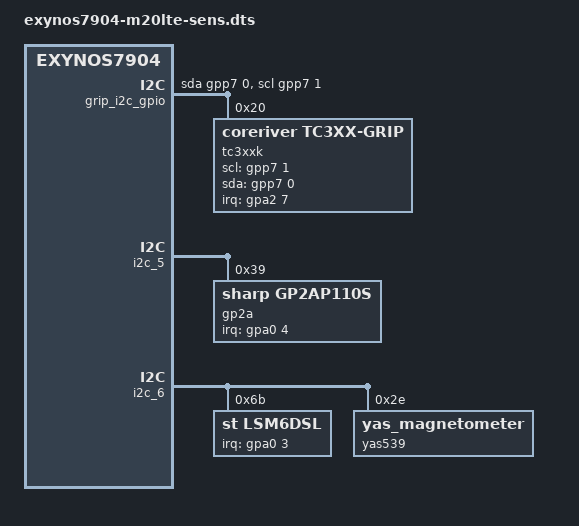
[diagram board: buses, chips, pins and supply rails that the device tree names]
// SPDX-License-Identifier: GPL-2.0
/*
 * M20 sensors (proximity/light, accel/gyro, magnetometer, grip) on top of the
 * DECON variant. Values from 4.4 exynos7904-m20lte-sensor-r03.dtsi. Separate
 * variant so the default images stay unchanged. Never run on hardware.
 */
#include "exynos7904-m20lte-decon.dts"

&pinctrl_0 {
	prox_int: prox_int {
		samsung,pins = "gpa0-4";
		samsung,pin-function = <0xf>;
		samsung,pin-pud = <0>;
		samsung,pin-drv = <0>;
	};

	grip_irq: grip-irq {
		samsung,pins = "gpa2-7";
		samsung,pin-function = <0xf>;
		samsung,pin-pud = <0>;
		samsung,pin-drv = <0>;
	};

	grip_input: grip-input {
		samsung,pins = "gpa2-7";
		samsung,pin-function = <0>;
		samsung,pin-pud = <0>;
		samsung,pin-drv = <0>;
	};
};

&i2c_5 {
	status = "okay";
	samsung,i2c-sda-delay = <100>;
	samsung,i2c-max-bus-freq = <400000>;

	gp2a@39 {
		compatible = "sharp,gp2ap110s";
		reg = <0x39>;
		pinctrl-names = "default";
		pinctrl-0 = <&prox_int>;
		interrupt-parent = <&gpa0>;
		interrupts = <4 0>;
		gp2ap110s,led_reg_val_1 = <0x14>;
		gp2ap110s,ps_high_th_1 = <370>;
		gp2ap110s,ps_low_th_1 = <260>;
		gp2ap110s,led_reg_val_2 = <0x24>;
		gp2ap110s,ps_high_th_2 = <200>;
		gp2ap110s,ps_low_th_2 = <170>;
		gp2ap110s,settings_thd_low = <130>;
		gp2ap110s,settings_thd_high = <370>;
		gp2ap110s,gpio_int = <&gpa0 4 0>;
	};
};

&i2c_6 {
	status = "okay";
	samsung,i2c-sda-delay = <100>;
	samsung,i2c-max-bus-freq = <400000>;

	lsm6dsl@6b {
		compatible = "st,lsm6dsl";
		reg = <0x6b>;
		interrupt-parent = <&gpa0>;
		interrupts = <3 0>;
		st,irq_gpio = <&gpa0 3 0>;
		st,orientation = <1 0 1 2 1 1 1 1 2>;
	};

	yas539@2e {
		compatible = "yas_magnetometer";
		reg = <0x2e>;
		yas,orientation = <6>;
		yas,softiron = <9270 310 480 310 10280 90 480 90 10450>;
		yas,softiron_sign = <2 2 2 2 2 0 2 0 2>;
	};
};

/ {
	grip_i2c_gpio: i2c@20 {
		compatible = "i2c-gpio";
		gpios = <&gpp7 0 0>, <&gpp7 1 0>;
		i2c-gpio,delay-us = <5>;
		pinctrl-names = "default", "on_i2c", "off_i2c";
		pinctrl-0 = <&grip_i2c>;
		pinctrl-1 = <&grip_i2c>;
		pinctrl-2 = <&grip_gpio>;
		#address-cells = <1>;
		#size-cells = <0>;

		tc3xxk@20 {
			compatible = "coreriver,tc3xx-grip";
			pinctrl-names = "default", "on_irq", "off_irq";
			pinctrl-0 = <&grip_irq>;
			pinctrl-1 = <&grip_irq>;
			pinctrl-2 = <&grip_input>;
			reg = <0x20>;
			interrupts = <7 0>;
			interrupt-parent = <&gpa2>;
			coreriver,scl-gpio = <&gpp7 1 0>;
			coreriver,sda-gpio = <&gpp7 0 0>;
			coreriver,irq-gpio = <&gpa2 7 0>;
			coreriver,ldo_en = <&gpg1 6 0>;
			coreriver,i2c-gpio = "true";
			coreriver,boot-on-ldo = "true";
			coreriver,fw_name = "coreriver/tc305k_m20_grip.fw";
			coreriver,use_bitmap = <1>;
		};
	};
};
